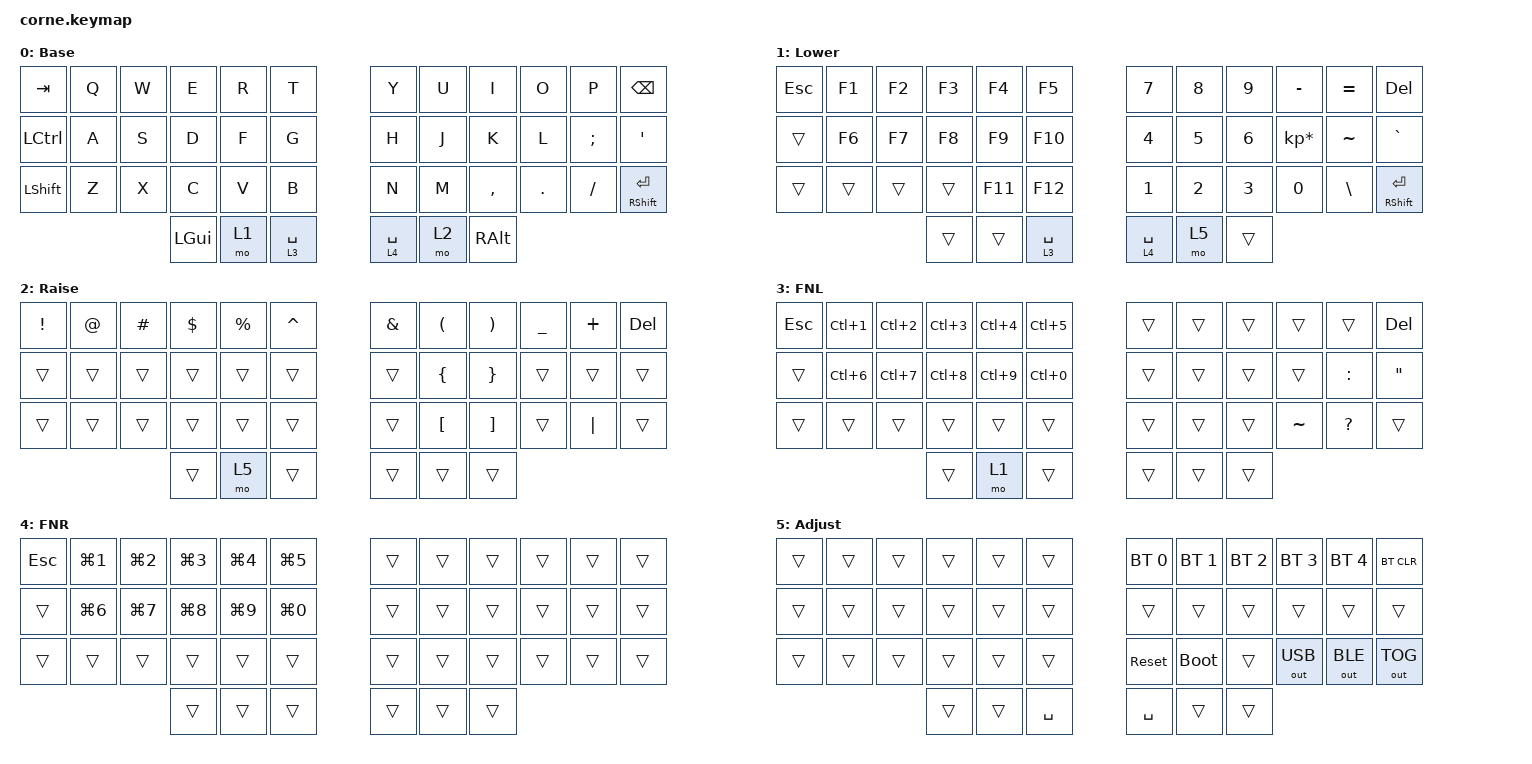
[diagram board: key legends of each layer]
/*
 * Copyright (c) 2020 The ZMK Contributors
 *
 * SPDX-License-Identifier: MIT
 */

#include <behaviors.dtsi>
#include <dt-bindings/zmk/bt.h>
#include <dt-bindings/zmk/keys.h>
#include <dt-bindings/zmk/outputs.h>

/ {
    keymap {
        compatible = "zmk,keymap";

        default_layer {
            // -----------------------------------------------------------------------------------------
            // |  TAB |  Q  |  W  |  E  |  R  |  T  |   |  Y  |  U   |  I  |  O  |  P  | BKSP |
            // | CTRL |  A  |  S  |  D  |  F  |  G  |   |  H  |  J   |  K  |  L  |  ;  |  '   |
            // | SHFT |  Z  |  X  |  C  |  V  |  B  |   |  N  |  M   |  ,  |  .  |  /  | ESC  |
            //                    | GUI | LWR | SPC |   | ENT | RSE  | ALT |

            label = "Base";
            bindings = <
  &kp TAB  &kp Q  &kp W     &kp E  &kp R        &kp T          &kp Y  &kp U      &kp I    &kp O     &kp P       &kp BSPC
&kp LCTRL  &kp A  &kp S     &kp D  &kp F        &kp G          &kp H  &kp J      &kp K    &kp L  &kp SEMI        &kp SQT
&kp LSHFT  &kp Z  &kp X     &kp C  &kp V        &kp B          &kp N  &kp M  &kp COMMA  &kp DOT  &kp FSLH  &mt RSHFT RET
                         &kp LGUI  &mo 1  &lt 3 SPACE    &lt 4 SPACE  &mo 2   &kp RALT
            >;
        };

        lower_layer {
            // -----------------------------------------------------------------------------------------
            // |  TAB |  1  |  2  |  3  |  4  |  5  |   |  6  |  7  |  8  |  9  |  0  | BKSP |
            // | BTCLR| BT1 | BT2 | BT3 | BT4 | BT5 |   | LFT | DWN |  UP | RGT |     |      |
            // | SHFT |     |     |     |     |     |   |     |     |     |     |     |      |
            //                    | GUI |     | SPC |   | ENT |     | ALT |

            label = "Lower";
            bindings = <
&kp ESCAPE  &kp F1  &kp F2  &kp F3   &kp F4       &kp F5         &kp N7  &kp N8  &kp N9        &kp MINUS  &kp EQUAL        &kp DEL
    &trans  &kp F6  &kp F7  &kp F8   &kp F9      &kp F10         &kp N4  &kp N5  &kp N6  &kp KP_MULTIPLY  &kp TILDE      &kp GRAVE
    &trans  &trans  &trans  &trans  &kp F11      &kp F12         &kp N1  &kp N2  &kp N3           &kp N0   &kp BSLH  &mt RSHFT RET
                            &trans   &trans  &lt 3 SPACE    &lt 4 SPACE   &mo 5  &trans
            >;
        };

        raise_layer {
            // -----------------------------------------------------------------------------------------
            // |  TAB |  !  |  @  |  #  |  $  |  %  |   |  ^  |  &  |  *  |  (  |  )  | BKSP |
            // | CTRL |     |     |     |     |     |   |  -  |  =  |  [  |  ]  |  \  |  `   |
            // | SHFT |     |     |     |     |     |   |  _  |  +  |  {  |  }  | "|" |  ~   |
            //                    | GUI |     | SPC |   | ENT |     | ALT |

            label = "Raise";
            bindings = <
&kp EXCL  &kp AT  &kp HASH  &kp DLLR  &kp PRCNT  &kp CARET    &kp AMPS  &kp LPAR  &kp RPAR  &kp UNDER  &kp PLUS  &kp DEL
  &trans  &trans    &trans    &trans     &trans     &trans      &trans  &kp LBRC  &kp RBRC     &trans    &trans   &trans
  &trans  &trans    &trans    &trans     &trans     &trans      &trans  &kp LBKT  &kp RBKT     &trans  &kp PIPE   &trans
                              &trans      &mo 5     &trans      &trans    &trans    &trans
            >;
        };

        fnl_layer {
            bindings = <
&kp ESC  &kp LC(N1)  &kp LC(N2)  &kp LC(N3)  &kp LC(N4)  &kp LC(N5)    &trans  &trans  &trans     &trans     &trans  &kp DEL
 &trans  &kp LC(N6)  &kp LC(N7)  &kp LC(N8)  &kp LC(N9)  &kp LC(N0)    &trans  &trans  &trans     &trans  &kp COLON  &kp DQT
 &trans      &trans      &trans      &trans      &trans      &trans    &trans  &trans  &trans  &kp TILDE  &kp QMARK   &trans
                                     &trans       &mo 1      &trans    &trans  &trans  &trans
            >;

            label = "FNL";
        };

        fnr_layer {
            bindings = <
&kp ESC  &kp LG(N1)  &kp LG(N2)  &kp LG(N3)  &kp LG(N4)  &kp LG(N5)    &trans  &trans  &trans  &trans  &trans  &trans
 &trans  &kp LG(N6)  &kp LG(N7)  &kp LG(N8)  &kp LG(N9)  &kp LG(N0)    &trans  &trans  &trans  &trans  &trans  &trans
 &trans      &trans      &trans      &trans      &trans      &trans    &trans  &trans  &trans  &trans  &trans  &trans
                                     &trans      &trans      &trans    &trans  &trans  &trans
            >;

            label = "FNR";
        };

        adjust_layer {
            bindings = <
&trans  &trans  &trans  &trans  &trans     &trans    &bt BT_SEL 0  &bt BT_SEL 1  &bt BT_SEL 2  &bt BT_SEL 3  &bt BT_SEL 4    &bt BT_CLR
&trans  &trans  &trans  &trans  &trans     &trans          &trans        &trans        &trans        &trans        &trans        &trans
&trans  &trans  &trans  &trans  &trans     &trans      &sys_reset   &bootloader        &trans  &out OUT_USB  &out OUT_BLE  &out OUT_TOG
                        &trans  &trans  &kp SPACE       &kp SPACE        &trans        &trans
            >;

            label = "Adjust";
        };
    };
};
